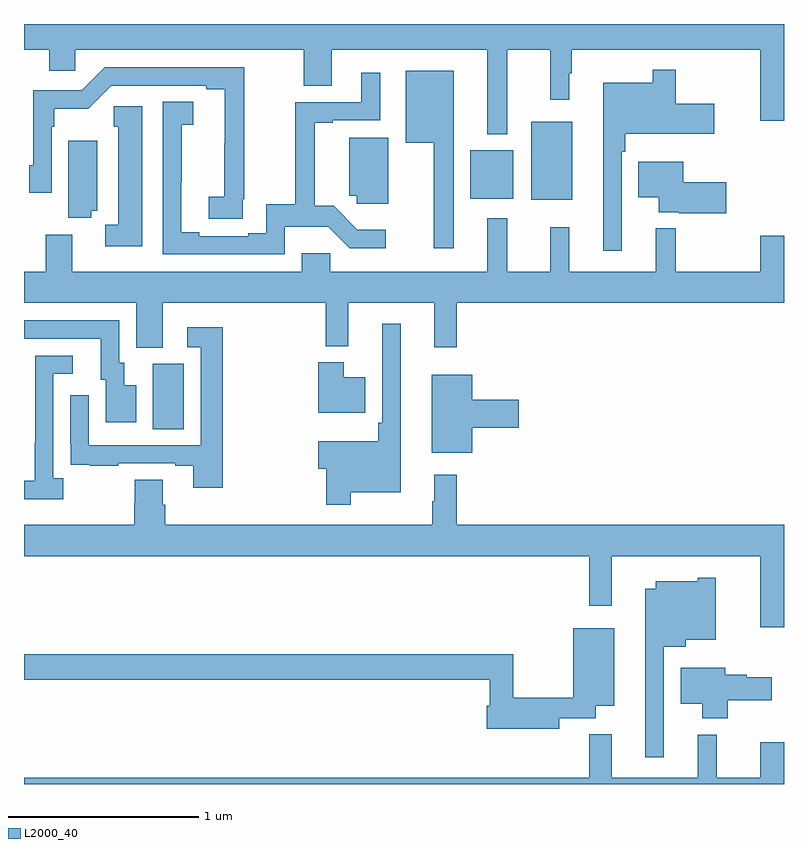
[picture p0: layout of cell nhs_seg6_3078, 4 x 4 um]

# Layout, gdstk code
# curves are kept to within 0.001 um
import gdstk
lib = gdstk.Library(unit=1e-6, precision=1e-09)
def R(c, l, rs):  # rectangles x0, y0, x1, y1
    for r in rs: c.add(gdstk.rectangle(r[:2], r[2:], *l))
def P(c, l, *ps):  # polygons
    for p in ps: c.add(gdstk.Polygon(p, *l))
L2000_40 = (2000, 40)

nhs_seg6_3078 = lib.new_cell('nhs_seg6_3078')
R(nhs_seg6_3078, L2000_40, [(293.678,917.368,293.842,917.712), (295.67,918.575,295.885,918.985), (295.349,918.581,295.576,918.835)])
P(nhs_seg6_3078, L2000_40, [(295.543,919.364),(295.771,919.364),(295.771,919.101),(295.87,919.101),(295.87,919.241),(295.882,919.241),(295.882,919.364),(296.876,919.364),(296.876,918.99),(297,918.99),(297,919.5),(293,919.5),(293,919.364),(293.132,919.364),(293.132,919.254),(293.271,919.254),(293.271,919.364),(294.472,919.364),(294.472,919.174),(294.619,919.174),(294.619,919.364),(295.439,919.364),(295.439,918.92),(295.543,918.92)],
  [(294.152,918.577),(294.158,918.577),(294.158,919.272),(293.424,919.272),(293.304,919.152),(293.049,919.152),(293.049,918.756),(293.028,918.756),(293.028,918.612),(293.145,918.612),(293.145,918.959),(293.158,918.959),(293.158,919.055),(293.339,919.055),(293.46,919.176),(293.96,919.176),(293.96,919.156),(294.056,919.156),(294.055,918.59),(293.973,918.59),(293.973,918.475),(294.152,918.475)],
  [(296.145,918.827),(296.165,918.827),(296.165,918.923),(296.632,918.923),(296.632,919.081),(296.431,919.081),(296.431,919.258),(296.31,919.258),(296.31,919.192),(296.048,919.192),(296.048,918.306),(296.145,918.306)],
  [(295.261,919.255),(295.01,919.255),(295.01,918.875),(295.157,918.875),(295.157,918.321),(295.261,918.321)],
  [(294.372,918.434),(294.601,918.434),(294.714,918.321),(294.904,918.321),(294.904,918.418),(294.755,918.418),(294.629,918.544),(294.53,918.544),(294.53,918.981),(294.625,918.981),(294.625,918.993),(294.874,918.993),(294.874,919.243),(294.776,919.243),(294.776,919.089),(294.427,919.089),(294.427,918.551),(294.276,918.551),(294.276,918.398),(294.179,918.398),(294.179,918.384),(293.923,918.384),(293.923,918.404),(293.827,918.404),(293.827,918.667),(293.829,918.667),(293.829,918.971),(293.89,918.971),(293.89,919.091),(293.73,919.091),(293.73,918.288),(294.372,918.288)],
  [(293.623,919.066),(293.473,919.066),(293.473,918.96),(293.495,918.96),(293.495,918.444),(293.427,918.444),(293.427,918.329),(293.623,918.329)],
  [(294.916,918.901),(294.713,918.901),(294.713,918.596),(294.75,918.596),(294.75,918.554),(294.916,918.554)],
  [(293.354,918.518),(293.386,918.518),(293.386,918.886),(293.234,918.886),(293.234,918.481),(293.354,918.481)],
  [(296.695,918.667),(296.47,918.667),(296.47,918.775),(296.234,918.775),(296.234,918.587),(296.342,918.587),(296.342,918.509),(296.446,918.509),(296.446,918.504),(296.695,918.504)],
  [(293.731,918.032),(294.589,918.032),(294.589,917.804),(294.707,917.804),(294.707,918.032),(295.16,918.032),(295.16,917.799),(295.277,917.799),(295.277,918.032),(297,918.032),(297,918.385),(296.876,918.385),(296.876,918.196),(296.431,918.196),(296.431,918.424),(296.324,918.424),(296.324,918.196),(295.871,918.196),(295.871,918.43),(295.771,918.43),(295.771,918.196),(295.543,918.196),(295.543,918.478),(295.439,918.478),(295.439,918.196),(294.613,918.196),(294.613,918.294),(294.461,918.294),(294.461,918.196),(293.254,918.196),(293.254,918.391),(293.114,918.391),(293.114,918.196),(293,918.196),(293,918.032),(293.591,918.032),(293.591,917.797),(293.731,917.797)],
  [(293.59,917.599),(293.527,917.599),(293.527,917.718),(293.502,917.718),(293.502,917.94),(293,917.94),(293,917.844),(293.405,917.844),(293.405,917.628),(293.429,917.628),(293.429,917.403),(293.59,917.403)],
  [(294.721,917.036),(294.982,917.036),(294.982,917.923),(294.885,917.923),(294.885,917.401),(294.865,917.401),(294.865,917.305),(294.548,917.305),(294.548,917.158),(294.592,917.158),(294.592,916.971),(294.721,916.971)],
  [(294.047,917.905),(293.859,917.905),(293.859,917.799),(293.931,917.799),(293.931,917.283),(293.34,917.283),(293.34,917.545),(293.244,917.545),(293.244,917.29),(293.245,917.29),(293.245,917.181),(293.347,917.181),(293.347,917.175),(293.495,917.175),(293.495,917.187),(293.795,917.187),(293.795,917.175),(293.891,917.175),(293.891,917.058),(294.047,917.058)],
  [(293.206,917.11),(293.154,917.11),(293.154,917.658),(293.257,917.658),(293.257,917.754),(293.058,917.754),(293.058,917.297),(293.057,917.297),(293.057,917.097),(293,917.097),(293,917),(293.206,917)],
  [(294.796,917.641),(294.682,917.641),(294.682,917.719),(294.548,917.719),(294.548,917.453),(294.796,917.453)],
  [(295.36,917.375),(295.603,917.375),(295.603,917.522),(295.36,917.522),(295.36,917.653),(295.145,917.653),(295.145,917.243),(295.36,917.243)],
  [(297,916.864),(295.277,916.864),(295.277,917.128),(295.16,917.128),(295.16,916.988),(295.149,916.988),(295.149,916.864),(293.744,916.864),(293.744,916.97),(293.731,916.97),(293.731,917.102),(293.584,917.102),(293.584,916.977),(293.579,916.977),(293.579,916.864),(293,916.864),(293,916.7),(295.975,916.7),(295.975,916.437),(296.094,916.437),(296.094,916.7),(296.876,916.7),(296.876,916.326),(297,916.326)],
  [(296.367,916.223),(296.482,916.223),(296.482,916.259),(296.641,916.259),(296.641,916.585),(296.547,916.585),(296.547,916.567),(296.324,916.567),(296.324,916.528),(296.27,916.528),(296.27,915.642),(296.367,915.642)],
  [(295.816,915.846),(296.008,915.846),(296.008,915.911),(296.107,915.911),(296.107,916.321),(295.892,916.321),(295.892,915.955),(295.576,915.955),(295.576,916.184),(293,916.184),(293,916.048),(295.451,916.048),(295.451,915.913),(295.436,915.913),(295.436,915.791),(295.816,915.791)],
  [(296.705,915.941),(296.935,915.941),(296.935,916.063),(296.805,916.063),(296.805,916.076),(296.692,916.076),(296.692,916.111),(296.456,916.111),(296.456,915.923),(296.57,915.923),(296.57,915.845),(296.705,915.845)],
  [(297,915.721),(296.876,915.721),(296.876,915.532),(296.646,915.532),(296.646,915.76),(296.546,915.76),(296.546,915.532),(296.093,915.532),(296.093,915.761),(295.975,915.761),(295.975,915.532),(293,915.532),(293,915.5),(297,915.5)])

lib.write_gds('nhs_seg6_3078.gds')
